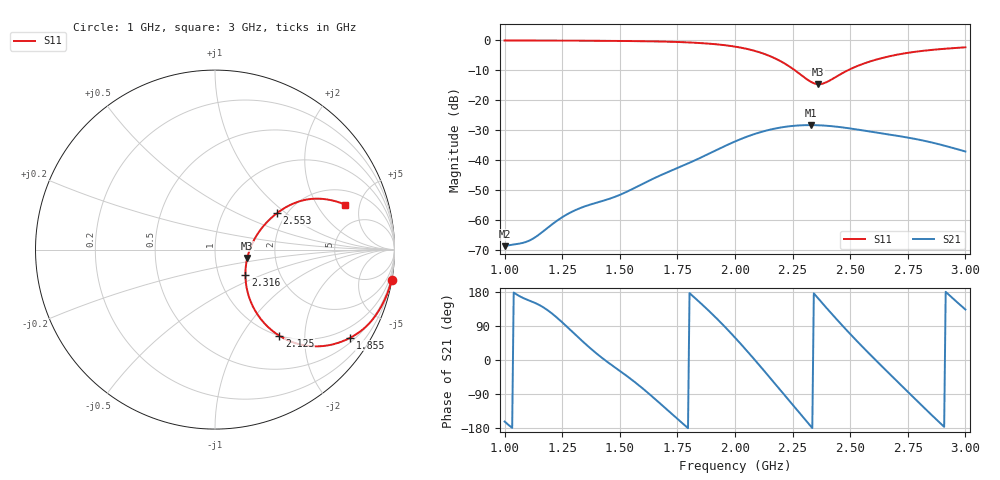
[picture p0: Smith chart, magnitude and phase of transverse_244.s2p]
! TOUCHSTONE file generated by CST MICROWAVE STUDIO
! Date and time: Tue Mar 11 13:58:00 2025
! Project name: transverse.cst
! Parameters = {Fracture=5; B=10; D=160; F=25; Feed=2.85625; L=100; M=10; R=0.384908; S=2; Theta=270; length=57.125; wave=114.25}
! Header version: 2024
! Port assignment regex: !\s*Touchstone port\s*([0-9]+)\s*=\s*(CST MWS port|CST DES external port|CST DES block port)\s*(.+)\s* \(\"(.*)\"\)(\s*mode\s*([0-9]+))?.*
! Touchstone port assignment:
! Touchstone port 1 = CST MWS port 1 ("")
! Touchstone port 2 = CST MWS port 2 ("")
# GHz S MA R 50
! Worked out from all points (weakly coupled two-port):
!   305 points, 1 GHz to 3 GHz, reference 50 ohm
!   highest |S21| = -28.29 dB at 2.329 GHz (marker M1); lowest = -68.7 dB at 1 GHz (marker M2)
!   lowest |S11| = -14.6 dB at 2.362 GHz (marker M3), VSWR 1.46, Z = 71.5 - j6.97 ohm
!   |S11| at or under -10 dB: 2.26 GHz to 2.489 GHz (229.2 MHz wide, 9.65 % of centre)
!   S12 and S22 are empty: the file has one direction only
!   S11 on the Smith chart (normalised r, x): 1 GHz: 0, -12; 1.855 GHz: 0.63, -3.26; 2.125 GHz: 1.00, -1.49; 2.316 GHz: 1.34, -0.39; 2.553 GHz: 1.79, +0.87; 3 GHz: 2.98, +3.61
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1  0.9978 -9.7  0.0003658 -162.4  0 0.0  0 0.0
1.07895  0.9966 -10.8  0.000415 164.1  0 0.0  0 0.0
1.11184  0.996 -11.3  0.0004623 155.7  0 0.0  0 0.0
1.25  0.9925 -13.5  0.001113 99.5  0 0.0  0 0.0
1.33553  0.989 -15.1  0.001623 50.9  0 0.0  0 0.0
1.49342  0.9798 -18.6  0.002567 -25.9  0 0.0  0 0.0
1.67105  0.9594 -24.2  0.005458 -112.6  0 0.0  0 0.0
1.85526  0.9 -33.0  0.0112 147.6  0 0.0  0 0.0
2  0.7875 -43.2  0.0205 59.2  0 0.0  0 0.0
2.06579  0.7003 -48.6  0.0258 14.4  0 0.0  0 0.0
2.125  0.5987 -53.3  0.03041 -27.5  0 0.0  0 0.0
2.21711  0.408 -56.7  0.036 -94.1  0 0.0  0 0.0
2.31579  0.2191 -39.4  0.03848 -165.4  0 0.0  0 0.0
2.32895  0.2037 -33.3  0.0385 -174.8  0 0.0  0 0.0
2.33553  0.1976 -29.9  0.03848 -179.5  0 0.0  0 0.0
2.36184  0.1858 -14.7  0.03825 161.9  0 0.0  0 0.0
2.39474  0.1986 3.5  0.03762 139.0  0 0.0  0 0.0
2.48684  0.3126 26.9  0.03438 77.2  0 0.0  0 0.0
2.55263  0.4021 30.5  0.03151 35.3  0 0.0  0 0.0
2.67105  0.544 29.7  0.02672 -36.8  0 0.0  0 0.0
2.83553  0.6826 24.2  0.02049 -134.6  0 0.0  0 0.0
3  0.7661 19.1  0.01395 133.2  0 0.0  0 0.0
